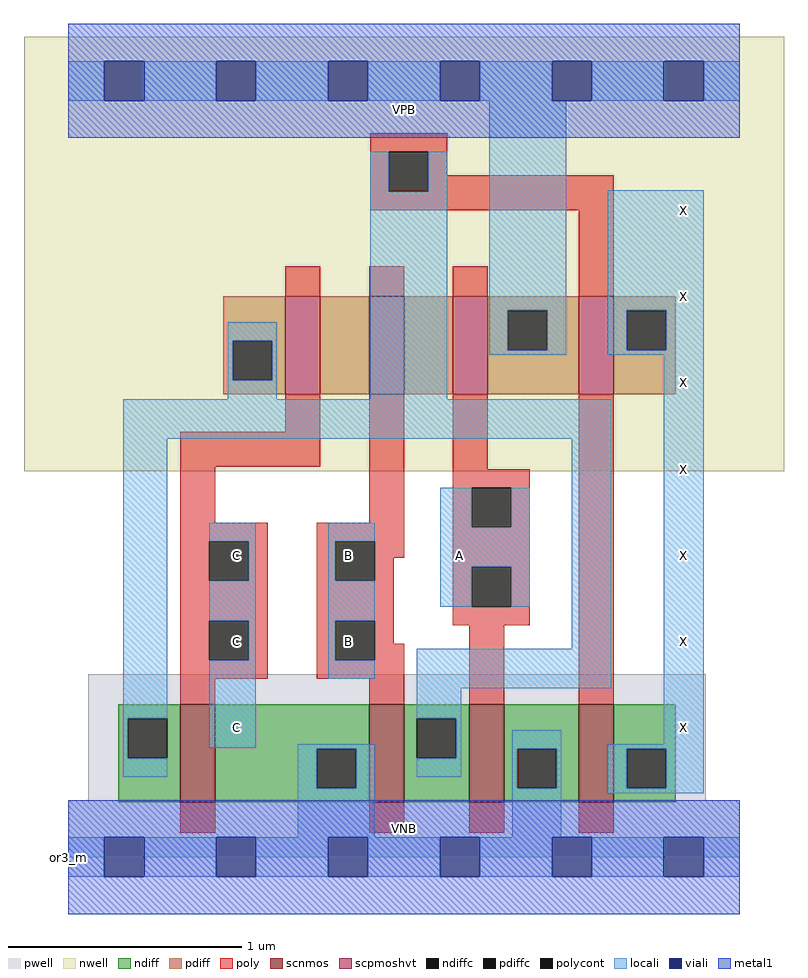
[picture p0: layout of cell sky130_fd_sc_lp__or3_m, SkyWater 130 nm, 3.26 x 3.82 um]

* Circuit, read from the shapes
.subckt sky130_fd_sc_lp__or3_m A B C VGND VNB VPB VPWR X
XM1 VGND C n1 VNB sky130_fd_pr__nfet_01v8 w=0.42 l=0.15
XM2 n1 B VGND VNB sky130_fd_pr__nfet_01v8 w=0.42 l=0.15
XM3 VGND A n1 VNB sky130_fd_pr__nfet_01v8 w=0.42 l=0.15
XM4 X n1 VGND VNB sky130_fd_pr__nfet_01v8 w=0.42 l=0.15
XM5 n2 C n1 VPB sky130_fd_pr__pfet_01v8_hvt w=0.42 l=0.15
XM6 n3 B n2 VPB sky130_fd_pr__pfet_01v8_hvt w=0.42 l=0.15
XM7 VPWR A n3 VPB sky130_fd_pr__pfet_01v8_hvt w=0.42 l=0.15
XM8 X n1 VPWR VPB sky130_fd_pr__pfet_01v8_hvt w=0.42 l=0.15
.ends

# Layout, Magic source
magic
tech sky130A
magscale 1 2
<< nwell >>
rect -38 331 614 704
<< pwell >>
rect 17 49 547 157
rect 0 0 576 49
<< scnmos >>
rect 96 47 126 131
rect 258 47 288 131
rect 344 47 374 131
rect 438 47 468 131
<< scpmoshvt >>
rect 186 397 216 481
rect 258 397 288 481
rect 330 397 360 481
rect 438 397 468 481
<< ndiff >>
rect 43 119 96 131
rect 43 85 51 119
rect 85 85 96 119
rect 43 47 96 85
rect 126 93 258 131
rect 126 59 213 93
rect 247 59 258 93
rect 126 47 258 59
rect 288 119 344 131
rect 288 85 299 119
rect 333 85 344 119
rect 288 47 344 85
rect 374 93 438 131
rect 374 59 385 93
rect 419 59 438 93
rect 374 47 438 59
rect 468 93 521 131
rect 468 59 479 93
rect 513 59 521 93
rect 468 47 521 59
<< pdiff >>
rect 133 443 186 481
rect 133 409 141 443
rect 175 409 186 443
rect 133 397 186 409
rect 216 397 258 481
rect 288 397 330 481
rect 360 469 438 481
rect 360 435 377 469
rect 411 435 438 469
rect 360 397 438 435
rect 468 469 521 481
rect 468 435 479 469
rect 513 435 521 469
rect 468 397 521 435
<< ndiffc >>
rect 51 85 85 119
rect 213 59 247 93
rect 299 85 333 119
rect 385 59 419 93
rect 479 59 513 93
<< pdiffc >>
rect 141 409 175 443
rect 377 435 411 469
rect 479 435 513 469
<< poly >>
rect 259 605 325 621
rect 259 571 275 605
rect 309 585 325 605
rect 309 571 468 585
rect 259 555 468 571
rect 186 481 216 507
rect 258 481 288 507
rect 330 481 360 507
rect 438 481 468 555
rect 186 365 216 397
rect 96 335 216 365
rect 96 287 126 335
rect 258 287 288 397
rect 96 271 171 287
rect 96 237 121 271
rect 155 237 171 271
rect 96 203 171 237
rect 96 169 121 203
rect 155 169 171 203
rect 96 153 171 169
rect 213 271 288 287
rect 213 237 229 271
rect 263 257 288 271
rect 330 333 360 397
rect 330 317 396 333
rect 330 283 346 317
rect 380 283 396 317
rect 263 237 279 257
rect 213 203 279 237
rect 213 169 229 203
rect 263 183 279 203
rect 330 249 396 283
rect 330 215 346 249
rect 380 215 396 249
rect 330 199 396 215
rect 263 169 288 183
rect 213 153 288 169
rect 96 131 126 153
rect 258 131 288 153
rect 344 131 374 199
rect 438 131 468 397
rect 96 21 126 47
rect 258 21 288 47
rect 344 21 374 47
rect 438 21 468 47
<< polycont >>
rect 275 571 309 605
rect 121 237 155 271
rect 121 169 155 203
rect 229 237 263 271
rect 346 283 380 317
rect 229 169 263 203
rect 346 215 380 249
<< locali >>
rect 0 649 31 683
rect 65 649 127 683
rect 161 649 223 683
rect 257 649 319 683
rect 353 649 415 683
rect 449 649 511 683
rect 545 649 576 683
rect 259 571 275 605
rect 309 571 325 605
rect 137 443 179 459
rect 137 409 141 443
rect 175 409 179 443
rect 137 393 179 409
rect 259 393 325 571
rect 361 469 427 649
rect 361 435 377 469
rect 411 435 427 469
rect 361 431 427 435
rect 463 469 545 572
rect 463 435 479 469
rect 513 435 545 469
rect 463 431 545 435
rect 47 359 466 393
rect 47 119 85 359
rect 47 85 51 119
rect 121 271 161 287
rect 155 237 161 271
rect 121 203 161 237
rect 155 169 161 203
rect 121 94 161 169
rect 223 271 263 287
rect 223 237 229 271
rect 223 203 263 237
rect 319 283 346 317
rect 380 283 396 317
rect 319 249 396 283
rect 319 215 346 249
rect 380 215 396 249
rect 223 169 229 203
rect 432 179 466 359
rect 223 153 263 169
rect 299 145 466 179
rect 299 119 337 145
rect 47 69 85 85
rect 197 93 263 97
rect 197 59 213 93
rect 247 59 263 93
rect 333 85 337 119
rect 299 69 337 85
rect 381 93 423 109
rect 511 97 545 431
rect 197 17 263 59
rect 381 59 385 93
rect 419 59 423 93
rect 381 17 423 59
rect 463 93 545 97
rect 463 59 479 93
rect 513 59 545 93
rect 463 55 545 59
rect 0 -17 31 17
rect 65 -17 127 17
rect 161 -17 223 17
rect 257 -17 319 17
rect 353 -17 415 17
rect 449 -17 511 17
rect 545 -17 576 17
<< viali >>
rect 31 649 65 683
rect 127 649 161 683
rect 223 649 257 683
rect 319 649 353 683
rect 415 649 449 683
rect 511 649 545 683
rect 31 -17 65 17
rect 127 -17 161 17
rect 223 -17 257 17
rect 319 -17 353 17
rect 415 -17 449 17
rect 511 -17 545 17
<< metal1 >>
rect 0 683 576 715
rect 0 649 31 683
rect 65 649 127 683
rect 161 649 223 683
rect 257 649 319 683
rect 353 649 415 683
rect 449 649 511 683
rect 545 649 576 683
rect 0 617 576 649
rect 0 17 576 49
rect 0 -17 31 17
rect 65 -17 127 17
rect 161 -17 223 17
rect 257 -17 319 17
rect 353 -17 415 17
rect 449 -17 511 17
rect 545 -17 576 17
rect 0 -49 576 -17
<< labels >>
flabel pwell s 0 0 576 49 0 FreeSans 200 0 0 0 VNB
port 5 nsew ground bidirectional
flabel nwell s 0 617 576 666 0 FreeSans 200 0 0 0 VPB
port 6 nsew power bidirectional
rlabel comment s 0 0 0 0 4 or3_m
flabel metal1 s 0 617 576 666 0 FreeSans 340 0 0 0 VPWR
port 7 nsew power bidirectional
flabel metal1 s 0 0 576 49 0 FreeSans 340 0 0 0 VGND
port 4 nsew ground bidirectional
flabel locali s 319 242 353 276 0 FreeSans 340 0 0 0 A
port 1 nsew signal input
flabel locali s 223 168 257 202 0 FreeSans 340 0 0 0 B
port 2 nsew signal input
flabel locali s 223 242 257 276 0 FreeSans 340 0 0 0 B
port 2 nsew signal input
flabel locali s 127 94 161 128 0 FreeSans 340 0 0 0 C
port 3 nsew signal input
flabel locali s 127 168 161 202 0 FreeSans 340 0 0 0 C
port 3 nsew signal input
flabel locali s 127 242 161 276 0 FreeSans 340 0 0 0 C
port 3 nsew signal input
flabel locali s 511 94 545 128 0 FreeSans 340 0 0 0 X
port 8 nsew signal output
flabel locali s 511 168 545 202 0 FreeSans 340 0 0 0 X
port 8 nsew signal output
flabel locali s 511 242 545 276 0 FreeSans 340 0 0 0 X
port 8 nsew signal output
flabel locali s 511 316 545 350 0 FreeSans 340 0 0 0 X
port 8 nsew signal output
flabel locali s 511 390 545 424 0 FreeSans 340 0 0 0 X
port 8 nsew signal output
flabel locali s 511 464 545 498 0 FreeSans 340 0 0 0 X
port 8 nsew signal output
flabel locali s 511 538 545 572 0 FreeSans 340 0 0 0 X
port 8 nsew signal output
<< properties >>
string LEFsite unit
string LEFclass CORE
string FIXED_BBOX 0 0 576 666
string GDS_FILE $PDKPATH/libs.ref/sky130_fd_sc_lp/gds/sky130_fd_sc_lp.gds
string LEFsymmetry X Y R90
string GDS_END 3181888
string GDS_START 3175838
<< end >>
